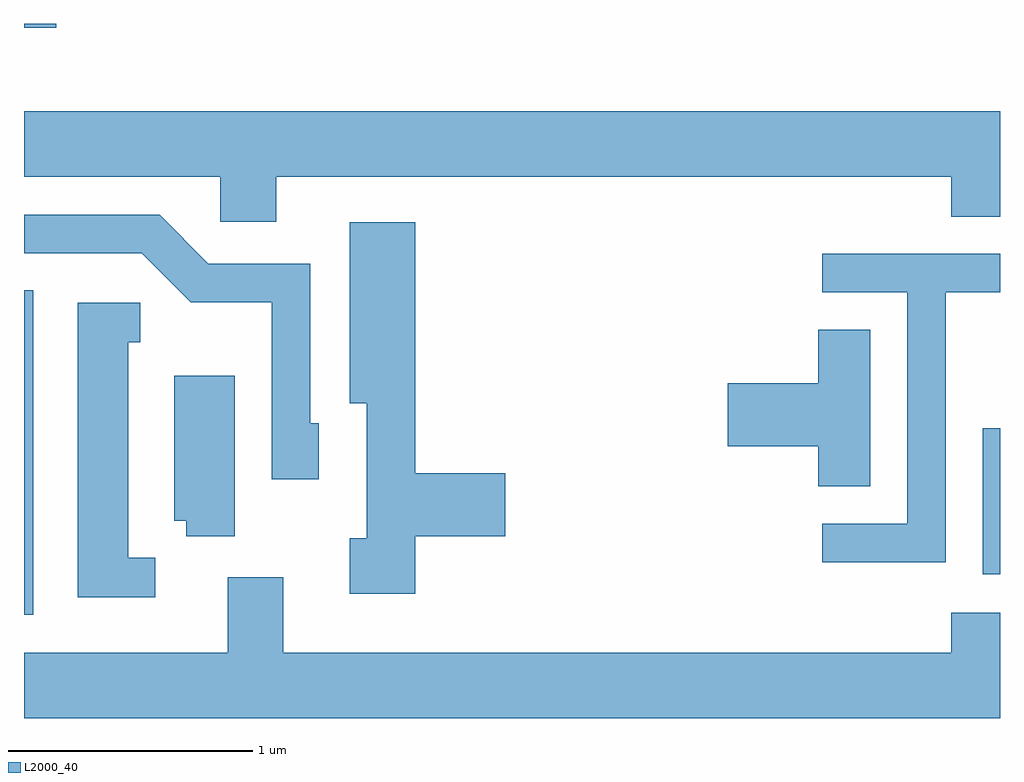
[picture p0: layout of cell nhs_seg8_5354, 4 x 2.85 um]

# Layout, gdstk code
import gdstk
lib = gdstk.Library(unit=1e-6, precision=1e-09)
def R(c, l, rs):  # rectangles x0, y0, x1, y1
    for r in rs: c.add(gdstk.rectangle(r[:2], r[2:], *l))
def P(c, l, *ps):  # polygons
    for p in ps: c.add(gdstk.Polygon(p, *l))
L2000_40 = (2000, 40)

nhs_seg8_5354 = lib.new_cell('nhs_seg8_5354')
R(nhs_seg8_5354, L2000_40, [(345.611,1867.921,345.649,1869.249), (349.541,1868.086,349.611,1868.684), (345.611,1870.326,345.744,1870.342)])
P(nhs_seg8_5354, L2000_40, [(346.644,1869.716),(349.411,1869.716),(349.411,1869.551),(349.611,1869.551),(349.611,1869.984),(345.611,1869.984),(345.611,1869.716),(346.416,1869.716),(346.416,1869.531),(346.644,1869.531)],
  [(346.819,1868.704),(346.784,1868.704),(346.784,1869.359),(346.367,1869.359),(346.167,1869.559),(345.611,1869.559),(345.611,1869.401),(346.094,1869.401),(346.294,1869.201),(346.626,1869.201),(346.626,1868.476),(346.819,1868.476)],
  [(347.214,1868.241),(347.584,1868.241),(347.584,1868.499),(347.214,1868.499),(347.214,1869.529),(346.946,1869.529),(346.946,1868.786),(347.016,1868.786),(347.016,1868.234),(346.946,1868.234),(346.946,1868.006),(347.214,1868.006)],
  [(349.389,1869.241),(349.611,1869.241),(349.611,1869.399),(348.883,1869.399),(348.883,1869.241),(349.231,1869.241),(349.231,1868.294),(348.883,1868.294),(348.883,1868.136),(349.389,1868.136)],
  [(346.148,1868.154),(346.039,1868.154),(346.039,1869.036),(346.088,1869.036),(346.088,1869.199),(345.831,1869.199),(345.831,1867.991),(346.148,1867.991)],
  [(349.079,1869.089),(348.866,1869.089),(348.866,1868.869),(348.496,1868.869),(348.496,1868.611),(348.866,1868.611),(348.866,1868.446),(349.079,1868.446)],
  [(346.474,1868.899),(346.226,1868.899),(346.226,1868.306),(346.276,1868.306),(346.276,1868.241),(346.474,1868.241)],
  [(349.611,1867.929),(349.411,1867.929),(349.411,1867.764),(346.674,1867.764),(346.674,1868.074),(346.446,1868.074),(346.446,1867.764),(345.611,1867.764),(345.611,1867.496),(349.611,1867.496)])

lib.write_gds('nhs_seg8_5354.gds')
